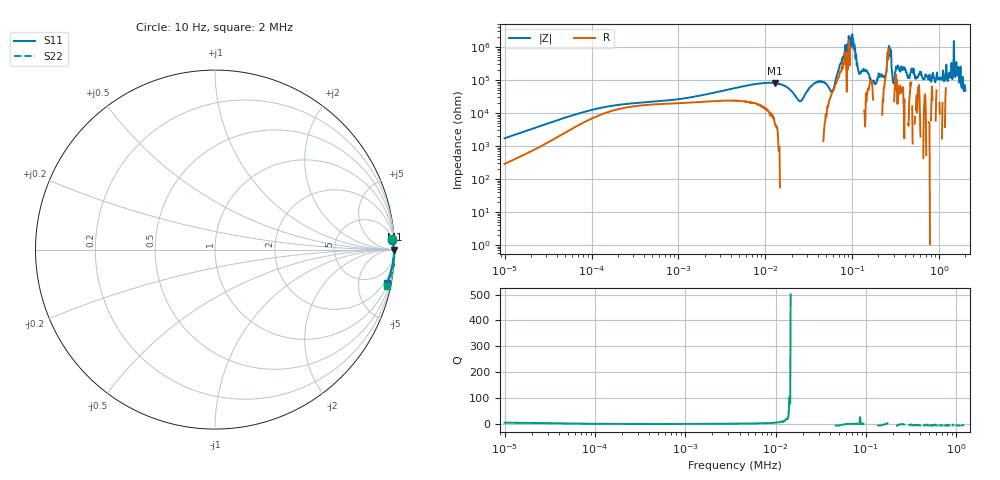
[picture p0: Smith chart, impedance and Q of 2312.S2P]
!Agilent Technologies,E5061B,MY49204007,A.02.12
!Date: Wed Jul 23 12:01:39 2025
!Data & Calibration Information:
!Freq	S11:SOLT2(ON)	S21:SOLT2(ON)	S12:SOLT2(ON)	S22:SOLT2(ON)
# Hz S dB R 50
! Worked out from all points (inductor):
!   1040 points, 10 Hz to 2 MHz, reference 50 ohm
!   read as one part in series: L = 26.5 H near 10.69 Hz
!   highest Q = 17.7 at 12.92 kHz (marker M1), where L = 1 H
!   self-resonance near 25.27 kHz
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10  -0.10 3.2  -24.90 -77.1  -24.90 -77.0  -0.08 3.4
77.209  -0.04 0.5  -40.42 -61.6  -40.43 -61.5  -0.02 0.7
588.818  -0.03 0.1  -47.26 -35.0  -47.27 -34.8  -0.01 0.3
4498.482  -0.01 0.0  -55.27 -65.1  -55.24 -65.3  0.01 0.2
12921.56  -0.01 -0.1  -58.23 -86.8  -58.27 -86.6  0.01 0.1
24965.33  -0.02 -0.1  -47.30 -171.6  -47.32 -171.7  -0.09 -0.1
34305.13  -0.01 -0.2  -56.78 109.1  -56.83 107.8  0.00 0.2
44689.1  -0.01 -0.3  -59.23 93.5  -59.22 92.3  0.01 0.1
58252.28  -0.05 -0.4  -52.78 22.2  -52.60 23.7  0.00 -0.1
79996  -0.01 -0.4  -74.60 -54.7  -76.40 -59.7  0.01 -0.2
89893.28  -0.01 -0.5  -78.96 -57.3  -81.77 -55.5  0.01 -0.3
102202.2  -0.00 -0.6  -85.12 -106.1  -78.90 -130.6  0.02 -0.4
121739.2  -0.04 -0.6  -63.74 141.4  -64.62 142.0  0.01 -0.5
144918.2  -0.01 -0.7  -66.06 82.9  -65.85 77.3  0.01 -0.7
179913  -0.02 -1.0  -58.20 -134.9  -58.31 -136.3  -0.01 -0.8
232624.4  -0.02 -1.3  -62.41 63.2  -61.34 62.2  0.00 -1.1
261946.5  -0.01 -1.4  -80.02 24.7  -80.32 40.7  -0.00 -1.3
302809.1  -0.02 -1.6  -58.68 72.8  -58.34 70.9  -0.04 -1.5
375694.8  -0.03 -1.9  -66.63 89.6  -66.16 78.1  0.00 -1.9
1016303  -0.07 -5.5  -61.07 79.3  -61.35 85.3  -0.02 -6.0
1554576  -0.15 -8.3  -65.34 128.8  -64.63 123.6  -0.11 -9.1
2000000  -0.20 -11.0  -53.91 -129.7  -53.57 -127.9  -0.17 -11.9
